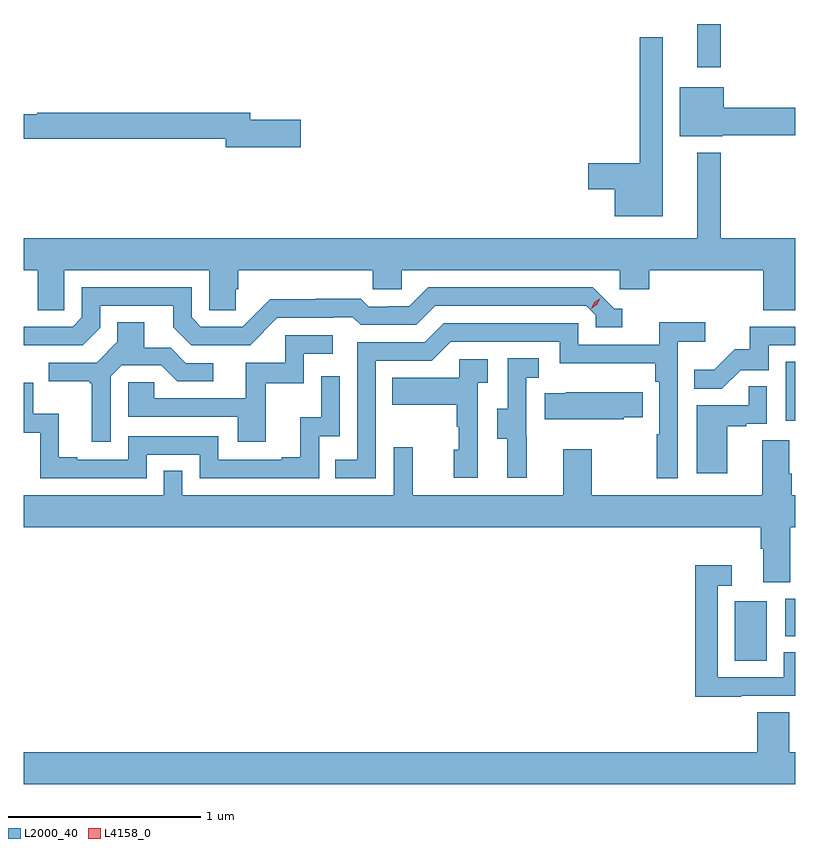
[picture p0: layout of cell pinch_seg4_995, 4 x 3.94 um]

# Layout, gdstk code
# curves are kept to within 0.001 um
import gdstk
lib = gdstk.Library(unit=1e-6, precision=1e-09)
def R(c, l, rs):  # rectangles x0, y0, x1, y1
    for r in rs: c.add(gdstk.rectangle(r[:2], r[2:], *l))
def P(c, l, *ps):  # polygons
    for p in ps: c.add(gdstk.Polygon(p, *l))
L2000_40 = (2000, 40)
L4158_0 = (4158, 0)

pinch_seg4_995 = lib.new_cell('pinch_seg4_995')
R(pinch_seg4_995, L2000_40, [(792.47,773.484,792.634,773.791), (792.732,773.611,792.783,773.805), (792.734,774.726,792.783,775.033), (792.275,776.559,792.397,776.784)])
P(pinch_seg4_995, L2000_40, [(792.097,776.716),(791.976,776.716),(791.976,776.063),(791.709,776.063),(791.709,775.928),(791.846,775.928),(791.846,775.787),(792.097,775.787)],
  [(792.408,776.207),(792.783,776.207),(792.783,776.349),(792.412,776.349),(792.412,776.455),(792.185,776.455),(792.185,776.201),(792.408,776.201)],
  [(790.219,776.288),(789.958,776.288),(789.958,776.324),(788.854,776.324),(788.854,776.317),(788.783,776.317),(788.783,776.188),(789.83,776.188),(789.83,776.146),(790.219,776.146)],
  [(788.783,775.508),(788.855,775.508),(788.855,775.3),(788.994,775.3),(788.994,775.508),(789.744,775.508),(789.744,775.3),(789.881,775.3),(789.881,775.41),(789.896,775.41),(789.896,775.508),(790.593,775.508),(790.593,775.41),(790.743,775.41),(790.743,775.508),(791.874,775.508),(791.874,775.41),(792.026,775.41),(792.026,775.508),(792.617,775.508),(792.617,775.3),(792.782,775.3),(792.782,775.508),(792.783,775.508),(792.783,775.672),(792.397,775.672),(792.397,776.116),(792.275,776.116),(792.275,775.672),(788.783,775.672)],
  [(788.874,775.119),(789.09,775.119),(789.18,775.209),(789.18,775.323),(789.557,775.323),(789.557,775.213),(789.651,775.119),(789.957,775.119),(790.098,775.26),(790.391,775.26),(790.391,775.263),(790.49,775.263),(790.529,775.224),(790.818,775.224),(790.917,775.323),(791.7,775.323),(791.748,775.275),(791.748,775.212),(791.887,775.212),(791.887,775.308),(791.844,775.308),(791.733,775.419),(790.88,775.419),(790.781,775.32),(790.674,775.32),(790.674,775.317),(790.571,775.317),(790.529,775.36),(790.296,775.36),(790.296,775.357),(790.06,775.357),(789.918,775.215),(789.702,775.215),(789.654,775.263),(789.654,775.419),(789.084,775.419),(789.084,775.263),(789.036,775.215),(788.783,775.215),(788.783,775.118)],
  [(790.608,775.038),(790.899,775.038),(790.998,775.137),(791.562,775.137),(791.562,775.025),(792.058,775.025),(792.058,774.929),(792.078,774.929),(792.078,774.656),(792.066,774.656),(792.066,774.429),(792.174,774.429),(792.174,775.136),(792.316,775.136),(792.316,775.238),(792.077,775.238),(792.077,775.122),(791.658,775.122),(791.658,775.233),(790.961,775.233),(790.862,775.134),(790.512,775.134),(790.512,774.525),(790.399,774.525),(790.399,774.429),(790.608,774.429)],
  [(789.234,774.957),(789.291,775.014),(789.497,775.014),(789.578,774.933),(789.766,774.933),(789.766,775.026),(789.624,775.026),(789.544,775.106),(789.409,775.106),(789.409,775.238),(789.269,775.238),(789.269,775.136),(789.162,775.029),(788.913,775.029),(788.913,774.932),(789.126,774.932),(789.126,774.921),(789.137,774.921),(789.137,774.618),(789.234,774.618)],
  [(792.501,774.99),(792.645,774.99),(792.645,775.119),(792.783,775.119),(792.783,775.215),(792.547,775.215),(792.547,775.098),(792.47,775.098),(792.363,774.991),(792.259,774.991),(792.259,774.892),(792.403,774.892)],
  [(790.037,774.921),(790.236,774.921),(790.236,775.074),(790.384,775.074),(790.384,775.17),(790.14,775.17),(790.14,775.029),(789.935,775.029),(789.935,774.843),(789.461,774.843),(789.461,774.927),(789.324,774.927),(789.324,774.747),(789.893,774.747),(789.893,774.618),(790.037,774.618)],
  [(791.39,774.645),(791.388,774.645),(791.388,774.949),(791.452,774.949),(791.452,775.052),(791.292,775.052),(791.292,774.789),(791.237,774.789),(791.237,774.634),(791.291,774.634),(791.291,774.432),(791.39,774.432)],
  [(791.136,774.923),(791.188,774.923),(791.188,775.047),(791.04,775.047),(791.04,774.949),(790.693,774.949),(790.693,774.809),(791.028,774.809),(791.028,774.695),(791.038,774.695),(791.038,774.576),(791.012,774.576),(791.012,774.432),(791.136,774.432)],
  [(789.42,774.552),(789.696,774.552),(789.696,774.429),(790.314,774.429),(790.314,774.648),(790.422,774.648),(790.422,774.958),(790.326,774.958),(790.326,774.746),(790.217,774.746),(790.217,774.538),(790.121,774.538),(790.121,774.525),(789.792,774.525),(789.792,774.648),(789.324,774.648),(789.324,774.525),(789.061,774.525),(789.061,774.538),(788.965,774.538),(788.965,774.763),(788.832,774.763),(788.832,774.924),(788.783,774.924),(788.783,774.665),(788.868,774.665),(788.868,774.429),(789.42,774.429)],
  [(792.43,774.699),(792.53,774.699),(792.53,774.711),(792.636,774.711),(792.636,774.905),(792.541,774.905),(792.541,774.807),(792.272,774.807),(792.272,774.456),(792.43,774.456)],
  [(791.895,774.745),(791.993,774.745),(791.993,774.874),(791.593,774.874),(791.593,774.871),(791.485,774.871),(791.485,774.734),(791.895,774.734)],
  [(792.757,774.176),(792.783,774.176),(792.783,774.34),(792.764,774.34),(792.764,774.452),(792.751,774.452),(792.751,774.626),(792.611,774.626),(792.611,774.34),(791.727,774.34),(791.727,774.58),(791.579,774.58),(791.579,774.34),(790.799,774.34),(790.799,774.589),(790.701,774.589),(790.701,774.34),(789.606,774.34),(789.606,774.467),(789.51,774.467),(789.51,774.34),(788.783,774.34),(788.783,774.176),(792.605,774.176),(792.605,774.064),(792.617,774.064),(792.617,773.89),(792.757,773.89)],
  [(792.503,773.301),(792.783,773.301),(792.783,773.526),(792.723,773.526),(792.723,773.397),(792.381,773.397),(792.381,773.871),(792.454,773.871),(792.454,773.977),(792.265,773.977),(792.265,773.296),(792.503,773.296)],
  [(792.783,773.008),(792.752,773.008),(792.752,773.216),(792.587,773.216),(792.587,773.008),(788.783,773.008),(788.783,772.844),(792.783,772.844)])
P(pinch_seg4_995, L4158_0, [(791.724,775.309),(791.724,775.309),(791.74,775.342),(791.771,775.361),(791.771,775.361),(791.771,775.361),(791.755,775.328),(791.724,775.309)])

lib.write_gds('pinch_seg4_995.gds')
